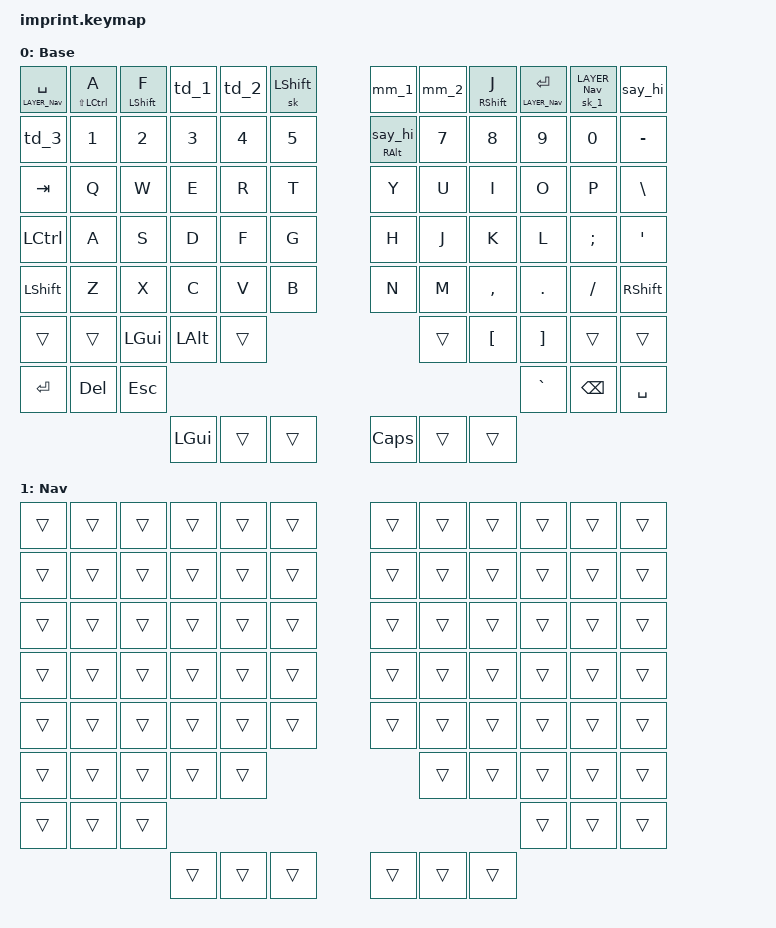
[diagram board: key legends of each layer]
/* Generated by Keyboard Curator. Change the board or the layout there, not this file. */

#include <behaviors.dtsi>
#include <dt-bindings/zmk/keys.h>
#include <dt-bindings/zmk/bt.h>
#include <dt-bindings/zmk/outputs.h>
#include <dt-bindings/zmk/rgb.h>
#include <dt-bindings/zmk/ext_power.h>
#include <dt-bindings/zmk/pointing.h>
#include <input/processors.dtsi>
#include <dt-bindings/zmk/input_transform.h>

#define LAYER_Base 0
#define LAYER_Nav 1

/ {
    chosen {
        zmk,physical-layout = &physical_layout_imprint_function_row_full_bottom_row;
    };

    behaviors {
        // Key 1 on Base: A, hold for ⇧Ctrl
        ht_1: ht_1 {
            compatible = "zmk,behavior-hold-tap";
            #binding-cells = <2>;
            flavor = "hold-preferred";
            tapping-term-ms = <250>;
            retro-tap;
            bindings = <&kp>, <&kp>;
        };
        // Template: Home-row mod
        home_row_mod: home_row_mod {
            compatible = "zmk,behavior-hold-tap";
            #binding-cells = <2>;
            flavor = "balanced";
            tapping-term-ms = <280>;
            quick-tap-ms = <175>;
            require-prior-idle-ms = <150>;
            hold-trigger-key-positions = <6 7 8 9 10 11 18 19 20 21 22 23 30 31 32 33 34 35 42 43 44 45 46 47 54 55 56 57 58 59 65 66 67 68 69 73 74 75 79 80 81>;
            hold-trigger-on-release;
            bindings = <&kp>, <&kp>;
        };
        // Key 9 on Base: Enter, hold for Nav
        ht_2: ht_2 {
            compatible = "zmk,behavior-hold-tap";
            #binding-cells = <2>;
            flavor = "balanced";
            tapping-term-ms = <280>;
            quick-tap-ms = <175>;
            require-prior-idle-ms = <150>;
            hold-trigger-key-positions = <0 1 2 3 4 5 12 13 14 15 16 17 24 25 26 27 28 29 36 37 38 39 40 41 48 49 50 51 52 53 60 61 62 63 64 70 71 72 76 77 78>;
            hold-trigger-on-release;
            bindings = <&mo>, <&kp>;
        };
        // Key 3 on Base: Q; tap twice for Esc
        td_1: td_1 {
            compatible = "zmk,behavior-tap-dance";
            #binding-cells = <0>;
            tapping-term-ms = <200>;
            bindings = <&kp Q>, <&kp ESC>;
        };
        // Key 4 on Base: W, hold for Alt; tap twice for Tab, hold for Nav; three times for Caps word
        td_2: td_2 {
            compatible = "zmk,behavior-tap-dance";
            #binding-cells = <0>;
            tapping-term-ms = <200>;
            bindings = <&mt LALT W>, <&lt LAYER_Nav TAB>, <&caps_word>;
        };
        // Key 6 on Base: ,, with ⇧ held ;
        mm_1: mm_1 {
            compatible = "zmk,behavior-mod-morph";
            #binding-cells = <0>;
            bindings = <&kp COMMA>, <&kp SEMI>;
            mods = <(MOD_LSFT|MOD_RSFT)>;
        };
        // Key 7 on Base: Bksp, hold for RCtrl, with ⇧ held Del
        mm_2: mm_2 {
            compatible = "zmk,behavior-mod-morph";
            #binding-cells = <0>;
            bindings = <&mt RCTRL BSPC>, <&kp DEL>;
            mods = <(MOD_LSFT|MOD_RSFT)>;
        };
        // Key 10 on Base: Sticky Nav while held
        sk_1: sk_1 {
            compatible = "zmk,behavior-sticky-key";
            #binding-cells = <1>;
            bindings = <&mo>;
            release-after-ms = <500>;
            quick-release;
            ignore-modifiers;
        };
        // Key 12 on Base: Sticky Gui; tap twice for Caps word
        td_3: td_3 {
            compatible = "zmk,behavior-tap-dance";
            #binding-cells = <0>;
            tapping-term-ms = <200>;
            bindings = <&sk LGUI>, <&caps_word>;
        };
        // Key 18 on Base: Macro: Say hi, hold for RAlt
        ht_3: ht_3 {
            compatible = "zmk,behavior-hold-tap";
            #binding-cells = <2>;
            flavor = "hold-preferred";
            tapping-term-ms = <200>;
            bindings = <&kp>, <&say_hi>;
        };
        // Template: Home-row mod
        home_row_mod_right: home_row_mod_right {
            compatible = "zmk,behavior-hold-tap";
            #binding-cells = <2>;
            flavor = "balanced";
            tapping-term-ms = <280>;
            quick-tap-ms = <175>;
            require-prior-idle-ms = <150>;
            hold-trigger-key-positions = <0 1 2 3 4 5 12 13 14 15 16 17 24 25 26 27 28 29 36 37 38 39 40 41 48 49 50 51 52 53 60 61 62 63 64 70 71 72 76 77 78>;
            hold-trigger-on-release;
            bindings = <&kp>, <&kp>;
        };
    };

    macros {
        // Template: Say hi
        say_hi: say_hi {
            compatible = "zmk,behavior-macro";
            #binding-cells = <0>;
            bindings
                = <&macro_press &kp LSHFT>
                , <&macro_tap &kp H &kp I>
                , <&macro_release &kp LSHFT>
                ;
        };
    };

    keymap {
        compatible = "zmk,keymap";

        layer_0_Base {
            display-name = "Base";
            bindings = <
                &lt LAYER_Nav SPACE  &ht_1 LS(LCTRL) A  &home_row_mod LSHFT F  &td_1     &td_2   &sk LSHFT                                         &mm_1         &mm_2      &home_row_mod_right RSHFT J  &ht_2 LAYER_Nav RET  &sk_1 LAYER_Nav  &say_hi
                &td_3                &kp N1             &kp N2                 &kp N3    &kp N4  &kp N5                                            &ht_3 RALT 0  &kp N7     &kp N8                       &kp N9               &kp N0           &kp MINUS
                &kp TAB              &kp Q              &kp W                  &kp E     &kp R   &kp T                                             &kp Y         &kp U      &kp I                        &kp O                &kp P            &kp BSLH
                &kp LCTRL            &kp A              &kp S                  &kp D     &kp F   &kp G                                             &kp H         &kp J      &kp K                        &kp L                &kp SEMI         &kp SQT
                &kp LSHFT            &kp Z              &kp X                  &kp C     &kp V   &kp B                                             &kp N         &kp M      &kp COMMA                    &kp DOT              &kp FSLH         &kp RSHFT
                &trans               &trans             &kp LGUI               &kp LALT  &trans                                                                  &trans     &kp LBKT                     &kp RBKT             &trans           &trans
                                                                                                            &kp RET   &kp DEL  &kp ESC  &kp GRAVE  &kp BSPC      &kp SPACE
                                                                                                            &kp LGUI  &trans   &trans   &kp CAPS   &trans        &trans
            >;
        };

        layer_1_Nav {
            display-name = "Nav";
            bindings = <
                &trans  &trans  &trans  &trans  &trans  &trans                                  &trans  &trans  &trans  &trans  &trans  &trans
                &trans  &trans  &trans  &trans  &trans  &trans                                  &trans  &trans  &trans  &trans  &trans  &trans
                &trans  &trans  &trans  &trans  &trans  &trans                                  &trans  &trans  &trans  &trans  &trans  &trans
                &trans  &trans  &trans  &trans  &trans  &trans                                  &trans  &trans  &trans  &trans  &trans  &trans
                &trans  &trans  &trans  &trans  &trans  &trans                                  &trans  &trans  &trans  &trans  &trans  &trans
                &trans  &trans  &trans  &trans  &trans                                                  &trans  &trans  &trans  &trans  &trans
                                                                &trans  &trans  &trans  &trans  &trans  &trans
                                                                &trans  &trans  &trans  &trans  &trans  &trans
            >;
        };
    };
};
